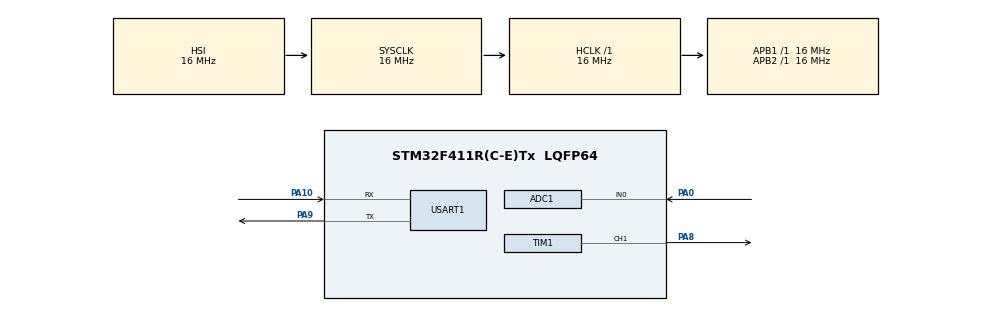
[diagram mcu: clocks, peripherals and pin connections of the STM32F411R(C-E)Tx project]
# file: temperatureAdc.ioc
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ADC1.Channel-1\#ChannelRegularConversion=ADC_CHANNEL_0
ADC1.NbrOfConversionFlag=1
ADC1.Rank-1\#ChannelRegularConversion=1
ADC1.SamplingTime-1\#ChannelRegularConversion=ADC_SAMPLETIME_3CYCLES
ADC1.master=1
Mcu.Family=STM32F4
Mcu.Name=STM32F411R(C-E)Tx
Mcu.Package=LQFP64
NVIC.PriorityGroup=NVIC_PRIORITYGROUP_4
NVIC.USART1_IRQn=true\:0\:0\:false\:false\:true\:true\:true\:true
PA0-WKUP.Signal=ADCx_IN0
PA10.Mode=Asynchronous
PA10.Signal=USART1_RX
PA8.Signal=S_TIM1_CH1
PA9.Mode=Asynchronous
PA9.Signal=USART1_TX
ProjectManager.HeapSize=0x200
ProjectManager.StackSize=0x400
ProjectManager.TargetToolchain=STM32CubeIDE
RCC.AHBFreq_Value=16000000
RCC.APB1Freq_Value=16000000
RCC.APB2Freq_Value=16000000
RCC.CortexFreq_Value=16000000
RCC.HSE_VALUE=25000000
RCC.HSI_VALUE=16000000
RCC.LSE_VALUE=32768
RCC.SYSCLKFreq_VALUE=16000000
RCC.VCOOutputFreq_Value=192000000
SH.ADCx_IN0.0=ADC1_IN0,IN0
SH.S_TIM1_CH1.0=TIM1_CH1,PWM Generation1 CH1
TIM1.Channel-PWM\ Generation1\ CH1=TIM_CHANNEL_1
TIM1.Period=999
TIM1.Prescaler=16-1
TIM1.Pulse-PWM\ Generation1\ CH1=499
USART1.VirtualMode=VM_ASYNC
VP_TIM1_VS_ClockSourceINT.Mode=Internal
board=custom

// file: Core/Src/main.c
/* USER CODE BEGIN Header */
/**
  ******************************************************************************
  * @file           : main.c
  * @brief          : Main program body
  ******************************************************************************
  * @attention
  *
  * Copyright (c) 2023 STMicroelectronics.
  * All rights reserved.
  *
  * This software is licensed under terms that can be found in the LICENSE file
  * in the root directory of this software component.
  * If no LICENSE file comes with this software, it is provided AS-IS.
  *
  ******************************************************************************
  */
/* USER CODE END Header */
#include "main.h"

/* USER CODE BEGIN Includes */
#include "uart.h"
#include "filter.h"
#include "Alarm.h"
/* USER CODE END Includes */

ADC_HandleTypeDef hadc1;

TIM_HandleTypeDef htim1;

UART_HandleTypeDef huart1;

void SystemClock_Config(void);
static void MX_GPIO_Init(void);
static void MX_ADC1_Init(void);
static void MX_USART1_UART_Init(void);
static void MX_TIM1_Init(void);

/* USER CODE BEGIN 0 */

void enableBuzzer(){
	HAL_TIM_PWM_Start(&htim1, TIM_CHANNEL_1);
}
void disableBuzzer(){
	HAL_TIM_PWM_Stop(&htim1, TIM_CHANNEL_1);
}

/* USER CODE END 0 */

int main(void)
{

  /* MCU Configuration--------------------------------------------------------*/

  /* Reset of all peripherals, Initializes the Flash interface and the Systick. */
  HAL_Init();

  /* Configure the system clock */
  SystemClock_Config();

  /* Initialize all configured peripherals */
  MX_GPIO_Init();
  MX_ADC1_Init();
  MX_USART1_UART_Init();
  MX_TIM1_Init();
  /* USER CODE BEGIN 2 */
 initUart();
 uint8_t sign=0;

  /* USER CODE END 2 */

  /* Infinite loop */
  while (1)
  {

    /* USER CODE BEGIN 3 */
  	HAL_ADC_Start(&hadc1);
  	HAL_ADC_PollForConversion(&hadc1, 1);
  	uint16_t value=HAL_ADC_GetValue(&hadc1);
  	HAL_ADC_Stop(&hadc1);

  	int filterValue=(int)Kalman((double)value);
  	if(filterValue>400) enableBuzzer();
  	if(filterValue<350) disableBuzzer();
  	printf("%d %d %d\n\r",value,AvgFilter(value),filterValue);

  	/*bell(Alarm(sign));*/

  	HAL_Delay(100);

  }

  /* USER CODE END 3 */
}

void SystemClock_Config(void)
{
  RCC_OscInitTypeDef RCC_OscInitStruct = {0};
  RCC_ClkInitTypeDef RCC_ClkInitStruct = {0};

  /** Configure the main internal regulator output voltage
  */
  __HAL_RCC_PWR_CLK_ENABLE();
  __HAL_PWR_VOLTAGESCALING_CONFIG(PWR_REGULATOR_VOLTAGE_SCALE1);

  /** Initializes the RCC Oscillators according to the specified parameters
  * in the RCC_OscInitTypeDef structure.
  */
  RCC_OscInitStruct.OscillatorType = RCC_OSCILLATORTYPE_HSI;
  RCC_OscInitStruct.HSIState = RCC_HSI_ON;
  RCC_OscInitStruct.HSICalibrationValue = RCC_HSICALIBRATION_DEFAULT;
  RCC_OscInitStruct.PLL.PLLState = RCC_PLL_NONE;
  if (HAL_RCC_OscConfig(&RCC_OscInitStruct) != HAL_OK)
  {
    Error_Handler();
  }

  /** Initializes the CPU, AHB and APB buses clocks
  */
  RCC_ClkInitStruct.ClockType = RCC_CLOCKTYPE_HCLK|RCC_CLOCKTYPE_SYSCLK
                              |RCC_CLOCKTYPE_PCLK1|RCC_CLOCKTYPE_PCLK2;
  RCC_ClkInitStruct.SYSCLKSource = RCC_SYSCLKSOURCE_HSI;
  RCC_ClkInitStruct.AHBCLKDivider = RCC_SYSCLK_DIV1;
  RCC_ClkInitStruct.APB1CLKDivider = RCC_HCLK_DIV1;
  RCC_ClkInitStruct.APB2CLKDivider = RCC_HCLK_DIV1;

  if (HAL_RCC_ClockConfig(&RCC_ClkInitStruct, FLASH_LATENCY_0) != HAL_OK)
  {
    Error_Handler();
  }
}

static void MX_ADC1_Init(void)
{

  ADC_ChannelConfTypeDef sConfig = {0};

  /** Configure the global features of the ADC (Clock, Resolution, Data Alignment and number of conversion)
  */
  hadc1.Instance = ADC1;
  hadc1.Init.ClockPrescaler = ADC_CLOCK_SYNC_PCLK_DIV2;
  hadc1.Init.Resolution = ADC_RESOLUTION_12B;
  hadc1.Init.ScanConvMode = DISABLE;
  hadc1.Init.ContinuousConvMode = DISABLE;
  hadc1.Init.DiscontinuousConvMode = DISABLE;
  hadc1.Init.ExternalTrigConvEdge = ADC_EXTERNALTRIGCONVEDGE_NONE;
  hadc1.Init.ExternalTrigConv = ADC_SOFTWARE_START;
  hadc1.Init.DataAlign = ADC_DATAALIGN_RIGHT;
  hadc1.Init.NbrOfConversion = 1;
  hadc1.Init.DMAContinuousRequests = DISABLE;
  hadc1.Init.EOCSelection = ADC_EOC_SINGLE_CONV;
  if (HAL_ADC_Init(&hadc1) != HAL_OK)
  {
    Error_Handler();
  }

  /** Configure for the selected ADC regular channel its corresponding rank in the sequencer and its sample time.
  */
  sConfig.Channel = ADC_CHANNEL_0;
  sConfig.Rank = 1;
  sConfig.SamplingTime = ADC_SAMPLETIME_3CYCLES;
  if (HAL_ADC_ConfigChannel(&hadc1, &sConfig) != HAL_OK)
  {
    Error_Handler();
  }

}

static void MX_TIM1_Init(void)
{

  TIM_ClockConfigTypeDef sClockSourceConfig = {0};
  TIM_MasterConfigTypeDef sMasterConfig = {0};
  TIM_OC_InitTypeDef sConfigOC = {0};
  TIM_BreakDeadTimeConfigTypeDef sBreakDeadTimeConfig = {0};

  htim1.Instance = TIM1;
  htim1.Init.Prescaler = 16-1;
  htim1.Init.CounterMode = TIM_COUNTERMODE_UP;
  htim1.Init.Period = 999;
  htim1.Init.ClockDivision = TIM_CLOCKDIVISION_DIV1;
  htim1.Init.RepetitionCounter = 0;
  htim1.Init.AutoReloadPreload = TIM_AUTORELOAD_PRELOAD_DISABLE;
  if (HAL_TIM_Base_Init(&htim1) != HAL_OK)
  {
    Error_Handler();
  }
  sClockSourceConfig.ClockSource = TIM_CLOCKSOURCE_INTERNAL;
  if (HAL_TIM_ConfigClockSource(&htim1, &sClockSourceConfig) != HAL_OK)
  {
    Error_Handler();
  }
  if (HAL_TIM_PWM_Init(&htim1) != HAL_OK)
  {
    Error_Handler();
  }
  sMasterConfig.MasterOutputTrigger = TIM_TRGO_RESET;
  sMasterConfig.MasterSlaveMode = TIM_MASTERSLAVEMODE_DISABLE;
  if (HAL_TIMEx_MasterConfigSynchronization(&htim1, &sMasterConfig) != HAL_OK)
  {
    Error_Handler();
  }
  sConfigOC.OCMode = TIM_OCMODE_PWM1;
  sConfigOC.Pulse = 499;
  sConfigOC.OCPolarity = TIM_OCPOLARITY_HIGH;
  sConfigOC.OCNPolarity = TIM_OCNPOLARITY_HIGH;
  sConfigOC.OCFastMode = TIM_OCFAST_DISABLE;
  sConfigOC.OCIdleState = TIM_OCIDLESTATE_RESET;
  sConfigOC.OCNIdleState = TIM_OCNIDLESTATE_RESET;
  if (HAL_TIM_PWM_ConfigChannel(&htim1, &sConfigOC, TIM_CHANNEL_1) != HAL_OK)
  {
    Error_Handler();
  }
  sBreakDeadTimeConfig.OffStateRunMode = TIM_OSSR_DISABLE;
  sBreakDeadTimeConfig.OffStateIDLEMode = TIM_OSSI_DISABLE;
  sBreakDeadTimeConfig.LockLevel = TIM_LOCKLEVEL_OFF;
  sBreakDeadTimeConfig.DeadTime = 0;
  sBreakDeadTimeConfig.BreakState = TIM_BREAK_DISABLE;
  sBreakDeadTimeConfig.BreakPolarity = TIM_BREAKPOLARITY_HIGH;
  sBreakDeadTimeConfig.AutomaticOutput = TIM_AUTOMATICOUTPUT_DISABLE;
  if (HAL_TIMEx_ConfigBreakDeadTime(&htim1, &sBreakDeadTimeConfig) != HAL_OK)
  {
    Error_Handler();
  }
  HAL_TIM_MspPostInit(&htim1);

}

static void MX_USART1_UART_Init(void)
{

  huart1.Instance = USART1;
  huart1.Init.BaudRate = 115200;
  huart1.Init.WordLength = UART_WORDLENGTH_8B;
  huart1.Init.StopBits = UART_STOPBITS_1;
  huart1.Init.Parity = UART_PARITY_NONE;
  huart1.Init.Mode = UART_MODE_TX_RX;
  huart1.Init.HwFlowCtl = UART_HWCONTROL_NONE;
  huart1.Init.OverSampling = UART_OVERSAMPLING_16;
  if (HAL_UART_Init(&huart1) != HAL_OK)
  {
    Error_Handler();
  }

}

static void MX_GPIO_Init(void)
{

  /* GPIO Ports Clock Enable */
  __HAL_RCC_GPIOA_CLK_ENABLE();

}

void Error_Handler(void)
{
  __disable_irq();
  while (1)
  {
  }
}
